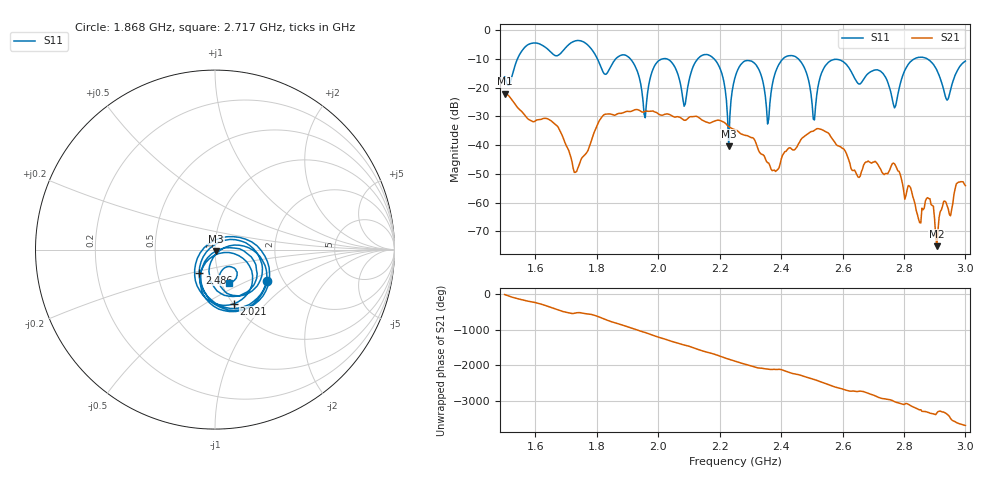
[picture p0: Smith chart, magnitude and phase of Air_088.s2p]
# HZ S RI R 50
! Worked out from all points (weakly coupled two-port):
!   404 points, 1.5 GHz to 3 GHz, reference 50 ohm
!   highest |S21| = -22.10 dB at 1.5 GHz (marker M1); lowest = -75.1 dB at 2.907 GHz (marker M2)
!   lowest |S11| = -40.4 dB at 2.23 GHz (marker M3), VSWR 1.02, Z = 50.6 - j0.775 ohm
!   |S11| at or under -10 dB: 2.182 GHz to 2.406 GHz (224.4 MHz wide, 9.78 % of centre); 2.456 GHz to 2.834 GHz (378.1 MHz wide, 14.3 % of centre); 2.876 GHz to end of sweep (the widest 3 of 7)
!   S12 and S22 are empty: the file has one direction only
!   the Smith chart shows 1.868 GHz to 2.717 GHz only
!   S11 on the Smith chart (normalised r, x): 1.868 GHz: 1.66, -0.66; 2.021 GHz: 1.00, -0.68; 2.486 GHz: 0.81, -0.21; 2.717 GHz: 1.09, -0.42
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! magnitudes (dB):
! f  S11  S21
! 1.5 GHz  -16.2  -22.1
! 1.578 GHz  -4.9  -31.1
! 1.753 GHz  -3.9  -44.2
! 1.868 GHz  -9.4  -29.1
! 1.958 GHz  -30.5  -28.2
! 2.002 GHz  -10.6  -29.3
! 2.021 GHz  -9.9  -29.3
! 2.084 GHz  -26.5  -31.3
! 2.177 GHz  -9.6  -31.9
! 2.23 GHz  -40.4  -33.5
! 2.252 GHz  -15.8  -34.7
! 2.315 GHz  -11.7  -38.4
! 2.356 GHz  -32.7  -46.1
! 2.378 GHz  -15.8  -48.7
! 2.486 GHz  -16.2  -36.1
! 2.501 GHz  -26.0  -35.2
! 2.565 GHz  -10.5  -37.5
! 2.717 GHz  -13.9  -47.2
! 2.751 GHz  -19.2  -49.2
! 2.907 GHz  -13.9  -75.1
! 2.94 GHz  -24.4  -61.1
! 3 GHz  -10.8  -54.1
